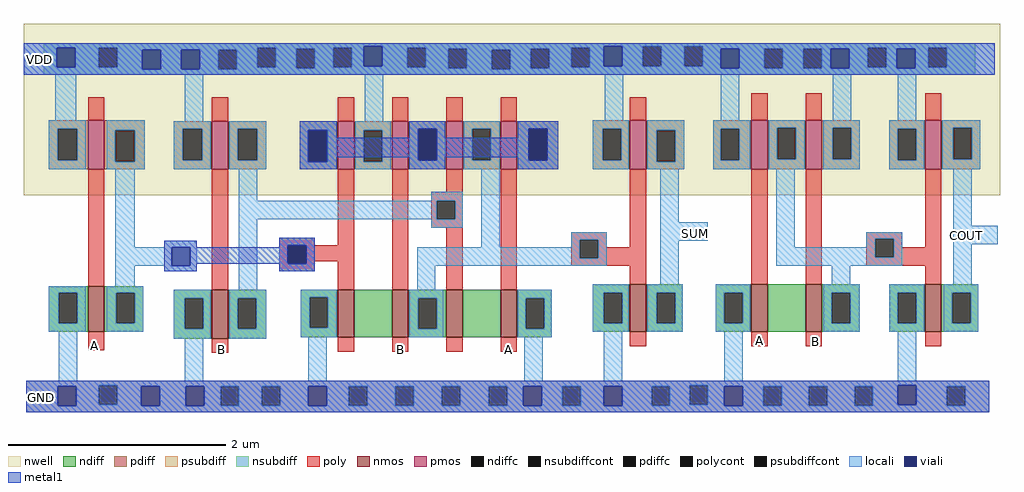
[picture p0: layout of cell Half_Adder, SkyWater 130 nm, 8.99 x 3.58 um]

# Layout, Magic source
magic

tech sky130A


<< nwell >>

rect -191 -15 708 143

<< nmos >>

rect -132 -141 -117 -99

rect -18 -147 -3 -102

rect 98 -146 113 -102

rect 148 -146 163 -102

rect 198 -146 213 -102

rect 248 -146 263 -102

rect 367 -141 382 -97

rect 479 -141 494 -97

rect 529 -141 544 -97

rect 639 -141 654 -97

<< pmos >>

rect -132 9 -117 54

rect -18 9 -3 53

rect 98 9 113 53

rect 148 9 163 53

rect 198 9 213 53

rect 248 9 263 53

rect 367 9 382 54

rect 479 9 494 54

rect 529 9 544 54

rect 639 9 654 54

<< ndiff >>

rect -168 -105 -132 -99

rect -168 -133 -159 -105

rect -142 -133 -132 -105

rect -168 -141 -132 -133

rect -117 -105 -81 -99

rect -117 -133 -106 -105

rect -89 -133 -81 -105

rect -117 -141 -81 -133

rect -53 -110 -18 -102

rect -53 -138 -43 -110

rect -26 -138 -18 -110

rect -53 -147 -18 -138

rect -3 -110 32 -102

rect -3 -138 6 -110

rect 23 -138 32 -110

rect -3 -147 32 -138

rect 64 -109 98 -102

rect 64 -137 72 -109

rect 89 -137 98 -109

rect 64 -146 98 -137

rect 113 -146 148 -102

rect 163 -110 198 -102

rect 163 -138 172 -110

rect 189 -138 198 -110

rect 163 -146 198 -138

rect 213 -146 248 -102

rect 263 -110 295 -102

rect 263 -138 271 -110

rect 288 -138 295 -110

rect 263 -146 295 -138

rect 333 -105 367 -97

rect 333 -133 343 -105

rect 360 -133 367 -105

rect 333 -141 367 -133

rect 382 -105 416 -97

rect 382 -133 392 -105

rect 409 -133 416 -105

rect 382 -141 416 -133

rect 446 -105 479 -97

rect 446 -133 454 -105

rect 471 -133 479 -105

rect 446 -141 479 -133

rect 494 -141 529 -97

rect 544 -105 579 -97

rect 544 -133 553 -105

rect 570 -133 579 -105

rect 544 -141 579 -133

rect 606 -105 639 -97

rect 606 -133 614 -105

rect 631 -133 639 -105

rect 606 -141 639 -133

rect 654 -105 688 -97

rect 654 -133 664 -105

rect 681 -133 688 -105

rect 654 -141 688 -133

<< pdiff >>

rect -168 46 -132 54

rect -168 17 -160 46

rect -142 17 -132 46

rect -168 9 -132 17

rect -117 45 -80 54

rect -117 16 -107 45

rect -89 16 -80 45

rect -117 9 -80 16

rect -53 46 -18 53

rect -53 17 -45 46

rect -27 17 -18 46

rect -53 9 -18 17

rect -3 46 32 53

rect -3 17 6 46

rect 24 17 32 46

rect -3 9 32 17

rect 63 45 98 53

rect 63 16 71 45

rect 89 16 98 45

rect 63 9 98 16

rect 113 45 148 53

rect 113 16 122 45

rect 139 16 148 45

rect 113 9 148 16

rect 163 46 198 53

rect 163 17 172 46

rect 189 17 198 46

rect 163 9 198 17

rect 213 46 248 53

rect 213 17 222 46

rect 239 17 248 46

rect 213 9 248 17

rect 263 46 301 53

rect 263 17 274 46

rect 291 17 301 46

rect 263 9 301 17

rect 333 46 367 54

rect 333 17 342 46

rect 359 17 367 46

rect 333 9 367 17

rect 382 45 417 54

rect 382 16 392 45

rect 409 16 417 45

rect 382 9 417 16

rect 444 46 479 54

rect 444 17 451 46

rect 468 17 479 46

rect 444 9 479 17

rect 494 47 529 54

rect 494 18 503 47

rect 520 18 529 47

rect 494 9 529 18

rect 544 47 579 54

rect 544 18 554 47

rect 571 18 579 47

rect 544 9 579 18

rect 606 46 639 54

rect 606 17 614 46

rect 631 17 639 46

rect 606 9 639 17

rect 654 47 690 54

rect 654 18 665 47

rect 682 18 690 47

rect 654 9 690 18

<< ndiffc >>

rect -159 -133 -142 -105

rect -106 -133 -89 -105

rect -43 -138 -26 -110

rect 6 -138 23 -110

rect 72 -137 89 -109

rect 172 -138 189 -110

rect 271 -138 288 -110

rect 343 -133 360 -105

rect 392 -133 409 -105

rect 454 -133 471 -105

rect 553 -133 570 -105

rect 614 -133 631 -105

rect 664 -133 681 -105

<< pdiffc >>

rect -160 17 -142 46

rect -107 16 -89 45

rect -45 17 -27 46

rect 6 17 24 46

rect 71 16 89 45

rect 122 16 139 45

rect 172 17 189 46

rect 222 17 239 46

rect 274 17 291 46

rect 342 17 359 46

rect 392 16 409 45

rect 451 17 468 46

rect 503 18 520 47

rect 554 18 571 47

rect 614 17 631 46

rect 665 18 682 47

<< psubdiff >>

rect -189 -190 698 -186

rect -189 -208 -122 -190

rect -105 -191 422 -190

rect -105 -208 -10 -191

rect -189 -209 -10 -208

rect 7 -209 28 -191

rect 45 -209 108 -191

rect 125 -209 151 -191

rect 168 -209 194 -191

rect 211 -209 237 -191

rect 254 -209 305 -191

rect 322 -209 387 -191

rect 404 -208 422 -191

rect 439 -191 698 -190

rect 439 -208 490 -191

rect 404 -209 490 -208

rect 507 -209 532 -191

rect 549 -209 574 -191

rect 591 -209 659 -191

rect 676 -209 698 -191

rect -189 -215 698 -209

<< nsubdiff >>

rect -173 122 685 125

rect -173 121 379 122

rect -173 103 -122 121

rect -105 119 24 121

rect -105 103 -12 119

rect -173 101 -12 103

rect 5 103 24 119

rect 41 120 94 121

rect 41 103 60 120

rect 5 102 60 103

rect 77 103 94 120

rect 111 103 162 121

rect 179 120 313 121

rect 179 103 200 120

rect 77 102 200 103

rect 217 119 276 120

rect 217 102 240 119

rect 5 101 240 102

rect 257 102 276 119

rect 293 103 313 120

rect 330 104 379 121

rect 396 104 417 122

rect 434 121 685 122

rect 434 120 586 121

rect 434 104 491 120

rect 330 103 491 104

rect 293 102 491 103

rect 508 102 527 120

rect 544 103 586 120

rect 603 103 642 121

rect 659 103 685 121

rect 544 102 685 103

rect 257 101 685 102

rect -173 96 685 101

<< psubdiffcont >>

rect -122 -208 -105 -190

rect -10 -209 7 -191

rect 28 -209 45 -191

rect 108 -209 125 -191

rect 151 -209 168 -191

rect 194 -209 211 -191

rect 237 -209 254 -191

rect 305 -209 322 -191

rect 387 -209 404 -191

rect 422 -208 439 -190

rect 490 -209 507 -191

rect 532 -209 549 -191

rect 574 -209 591 -191

rect 659 -209 676 -191

<< nsubdiffcont >>

rect -122 103 -105 121

rect -12 101 5 119

rect 24 103 41 121

rect 60 102 77 120

rect 94 103 111 121

rect 162 103 179 121

rect 200 102 217 120

rect 240 101 257 119

rect 276 102 293 120

rect 313 103 330 121

rect 379 104 396 122

rect 417 104 434 122

rect 491 102 508 120

rect 527 102 544 120

rect 586 103 603 121

rect 642 103 659 121

<< poly >>

rect -132 54 -117 75

rect -18 53 -3 75

rect 98 53 113 75

rect 148 53 163 75

rect 198 53 213 75

rect 248 53 263 75

rect 367 54 382 75

rect 479 54 494 79

rect 529 54 544 79

rect 639 54 654 79

rect -132 -99 -117 9

rect -18 -102 -3 9

rect 44 -61 77 -54

rect 98 -61 113 9

rect 44 -78 52 -61

rect 69 -76 113 -61

rect 69 -78 77 -76

rect 44 -85 77 -78

rect 98 -102 113 -76

rect 148 -102 163 9

rect 198 -12 213 9

rect 184 -20 213 -12

rect 184 -37 189 -20

rect 206 -37 213 -20

rect 184 -45 213 -37

rect 198 -102 213 -45

rect 248 -102 263 9

rect 313 -56 346 -49

rect 313 -73 321 -56

rect 338 -63 346 -56

rect 367 -63 382 9

rect 338 -73 382 -63

rect 313 -80 382 -73

rect 367 -97 382 -80

rect 479 -97 494 9

rect 529 -97 544 9

rect 585 -55 618 -49

rect 585 -72 593 -55

rect 610 -63 618 -55

rect 639 -63 654 9

rect 610 -72 654 -63

rect 585 -80 654 -72

rect 639 -97 654 -80

rect -132 -158 -117 -141

rect -18 -160 -3 -147

rect 98 -159 113 -146

rect 148 -159 163 -146

rect 198 -159 213 -146

rect 248 -159 263 -146

rect 367 -154 382 -141

rect 479 -154 494 -141

rect 529 -154 544 -141

rect 639 -154 654 -141

<< polycont >>

rect 52 -78 69 -61

rect 189 -37 206 -20

rect 321 -73 338 -56

rect 593 -72 610 -55

<< locali >>

rect -191 122 703 125

rect -191 121 122 122

rect -191 103 -161 121

rect -144 103 -122 121

rect -105 119 24 121

rect -105 103 -82 119

rect -191 101 -82 103

rect -65 101 -46 119

rect -29 101 -12 119

rect 5 103 24 119

rect 41 120 94 121

rect 41 103 60 120

rect 5 102 60 103

rect 77 103 94 120

rect 111 104 122 121

rect 139 121 343 122

rect 139 104 162 121

rect 111 103 162 104

rect 179 120 313 121

rect 179 103 200 120

rect 77 102 200 103

rect 217 119 276 120

rect 217 102 240 119

rect 5 101 240 102

rect 257 102 276 119

rect 293 103 313 120

rect 330 104 343 121

rect 360 104 379 122

rect 396 104 417 122

rect 434 121 703 122

rect 434 120 586 121

rect 434 104 451 120

rect 330 103 451 104

rect 293 102 451 103

rect 468 102 491 120

rect 508 102 527 120

rect 544 102 552 120

rect 569 103 586 120

rect 603 120 642 121

rect 603 103 613 120

rect 569 102 613 103

rect 630 103 642 120

rect 659 103 703 121

rect 630 102 703 103

rect 257 101 703 102

rect -191 96 703 101

rect -162 54 -143 96

rect -168 46 -134 54

rect -168 17 -160 46

rect -142 17 -134 46

rect -168 9 -134 17

rect -115 45 -80 54

rect -43 53 -26 96

rect 123 53 140 96

rect 344 54 361 96

rect 451 54 468 96

rect 554 54 571 96

rect 614 54 631 96

rect -115 16 -107 45

rect -89 16 -80 45

rect -115 9 -80 16

rect -53 46 -19 53

rect -53 17 -45 46

rect -27 17 -19 46

rect -53 9 -19 17

rect -2 46 32 53

rect -2 17 6 46

rect 24 17 32 46

rect -2 9 32 17

rect 63 45 97 53

rect 63 16 71 45

rect 89 16 97 45

rect 63 9 97 16

rect 114 45 147 53

rect 114 16 122 45

rect 139 16 147 45

rect 114 9 147 16

rect 164 46 197 53

rect 164 17 172 46

rect 189 17 197 46

rect 164 9 197 17

rect 214 46 247 53

rect 214 17 222 46

rect 239 17 247 46

rect 214 9 247 17

rect 264 46 301 53

rect 264 17 274 46

rect 291 17 301 46

rect 264 9 301 17

rect 333 46 366 54

rect 333 17 342 46

rect 359 17 366 46

rect 333 9 366 17

rect 383 45 417 54

rect 383 16 392 45

rect 409 16 417 45

rect 383 9 417 16

rect 444 46 478 54

rect 444 17 451 46

rect 468 17 478 46

rect 444 9 478 17

rect 495 47 528 54

rect 495 18 503 47

rect 520 18 528 47

rect 495 9 528 18

rect 545 47 579 54

rect 545 18 554 47

rect 571 18 579 47

rect 545 9 579 18

rect 606 46 638 54

rect 606 17 614 46

rect 631 17 638 46

rect 606 9 638 17

rect 655 47 690 54

rect 655 18 665 47

rect 682 18 690 47

rect 655 9 690 18

rect -107 -63 -89 9

rect 7 -20 24 9

rect 184 -20 213 -12

rect 7 -37 189 -20

rect 206 -37 213 -20

rect -62 -63 -32 -57

rect -107 -80 -55 -63

rect -38 -80 -32 -63

rect -107 -99 -89 -80

rect -62 -85 -32 -80

rect -168 -105 -134 -99

rect -168 -133 -159 -105

rect -142 -133 -134 -105

rect -168 -141 -134 -133

rect -115 -105 -81 -99

rect 7 -102 24 -37

rect 184 -45 213 -37

rect 44 -61 77 -54

rect 44 -78 52 -61

rect 69 -78 77 -61

rect 230 -63 247 9

rect 395 -40 412 9

rect 313 -56 346 -49

rect 313 -63 321 -56

rect 44 -85 77 -78

rect 171 -73 321 -63

rect 338 -73 346 -56

rect 171 -80 346 -73

rect 395 -57 439 -40

rect 171 -102 188 -80

rect 395 -97 412 -57

rect 502 -63 519 9

rect 665 -43 682 9

rect 585 -55 618 -49

rect 585 -63 593 -55

rect 502 -72 593 -63

rect 610 -72 618 -55

rect 502 -80 618 -72

rect 665 -60 706 -43

rect 553 -97 570 -80

rect 665 -97 682 -60

rect -115 -133 -106 -105

rect -89 -133 -81 -105

rect -115 -141 -81 -133

rect -53 -110 -19 -102

rect -53 -138 -43 -110

rect -26 -138 -19 -110

rect -159 -186 -142 -141

rect -53 -147 -19 -138

rect -2 -110 32 -102

rect -2 -138 6 -110

rect 23 -138 32 -110

rect -2 -147 32 -138

rect 64 -109 97 -102

rect 64 -137 72 -109

rect 89 -137 97 -109

rect 64 -146 97 -137

rect 164 -110 195 -102

rect 164 -138 172 -110

rect 189 -138 195 -110

rect 164 -146 195 -138

rect 264 -110 295 -102

rect 264 -138 271 -110

rect 288 -138 295 -110

rect 264 -146 295 -138

rect 333 -105 366 -97

rect 333 -133 343 -105

rect 360 -133 366 -105

rect 333 -141 366 -133

rect 383 -105 416 -97

rect 383 -133 392 -105

rect 409 -133 416 -105

rect 383 -141 416 -133

rect 446 -105 478 -97

rect 446 -133 454 -105

rect 471 -133 478 -105

rect 446 -141 478 -133

rect 545 -105 579 -97

rect 545 -133 553 -105

rect 570 -133 579 -105

rect 545 -141 579 -133

rect 606 -105 638 -97

rect 606 -133 614 -105

rect 631 -133 638 -105

rect 606 -141 638 -133

rect 656 -105 688 -97

rect 656 -133 664 -105

rect 681 -133 688 -105

rect 656 -141 688 -133

rect -43 -186 -26 -147

rect 71 -186 88 -146

rect 270 -186 287 -146

rect 343 -186 360 -141

rect 454 -186 471 -141

rect 614 -186 631 -141

rect -189 -190 698 -186

rect -189 -191 -122 -190

rect -189 -209 -160 -191

rect -143 -208 -122 -191

rect -105 -191 422 -190

rect -105 -208 -83 -191

rect -143 -209 -83 -208

rect -66 -209 -42 -191

rect -25 -209 -10 -191

rect 7 -209 28 -191

rect 45 -209 71 -191

rect 88 -209 108 -191

rect 125 -209 151 -191

rect 168 -209 194 -191

rect 211 -209 237 -191

rect 254 -209 269 -191

rect 286 -209 305 -191

rect 322 -209 343 -191

rect 360 -209 387 -191

rect 404 -208 422 -191

rect 439 -191 614 -190

rect 439 -208 454 -191

rect 404 -209 454 -208

rect 471 -209 490 -191

rect 507 -209 532 -191

rect 549 -209 574 -191

rect 591 -208 614 -191

rect 631 -191 698 -190

rect 631 -208 659 -191

rect 591 -209 659 -208

rect 676 -209 698 -191

rect -189 -215 698 -209

<< viali >>

rect -161 103 -144 121

rect -82 101 -65 119

rect -46 101 -29 119

rect 122 104 139 122

rect 343 104 360 122

rect 451 102 468 120

rect 552 102 569 120

rect 613 102 630 120

rect 71 16 88 45

rect 172 17 189 46

rect 274 17 291 46

rect -55 -80 -38 -63

rect 52 -78 69 -61

rect -160 -209 -143 -191

rect -83 -209 -66 -191

rect -42 -209 -25 -191

rect 71 -209 88 -191

rect 269 -209 286 -191

rect 343 -209 360 -191

rect 454 -209 471 -191

rect 614 -208 631 -190

<< metal1 >>

rect -191 122 703 125

rect -191 121 122 122

rect -191 103 -161 121

rect -144 119 122 121

rect -144 103 -82 119

rect -191 101 -82 103

rect -65 101 -46 119

rect -29 104 122 119

rect 139 104 343 122

rect 360 120 703 122

rect 360 104 451 120

rect -29 102 451 104

rect 468 102 552 120

rect 569 102 613 120

rect 630 102 703 120

rect -29 101 703 102

rect -191 96 703 101

rect 63 45 97 53

rect 63 16 71 45

rect 88 38 97 45

rect 164 46 197 53

rect 164 38 172 46

rect 88 20 172 38

rect 88 16 97 20

rect 63 9 97 16

rect 164 17 172 20

rect 189 38 197 46

rect 264 46 301 53

rect 264 38 274 46

rect 189 20 274 38

rect 189 17 197 20

rect 164 9 197 17

rect 264 17 274 20

rect 291 17 301 46

rect 264 9 301 17

rect -62 -63 -32 -57

rect 44 -61 77 -54

rect 44 -63 52 -61

rect -62 -80 -55 -63

rect -38 -78 52 -63

rect 69 -78 77 -61

rect -38 -80 -32 -78

rect -62 -85 -32 -80

rect 44 -85 77 -78

rect -189 -190 698 -186

rect -189 -191 614 -190

rect -189 -209 -160 -191

rect -143 -209 -83 -191

rect -66 -209 -42 -191

rect -25 -209 71 -191

rect 88 -209 269 -191

rect 286 -209 343 -191

rect 360 -209 454 -191

rect 471 -208 614 -191

rect 631 -208 698 -190

rect 471 -209 698 -208

rect -189 -215 698 -209

<< labels >>

flabel metal1 s -189 100 -165 120 0 FreeSans 80 0 0 0 VDD

port 0 nsew

flabel metal1 s -187 -211 -163 -191 0 FreeSans 80 0 0 0 GND

port 1 nsew

flabel poly s -138 -163 -114 -143 0 FreeSans 80 0 0 0 A

port 2 nsew

flabel poly s 243 -167 267 -147 0 FreeSans 80 0 0 0 A

flabel poly s -21 -167 3 -147 0 FreeSans 80 0 0 0 B

port 3 nsew

flabel poly s 144 -167 168 -147 0 FreeSans 80 0 0 0 B

flabel poly s 475 -155 498 -142 0 FreeSans 80 0 0 0 A

flabel poly s 527 -156 550 -143 0 FreeSans 80 0 0 0 B

flabel locali s 416 -57 439 -44 0 FreeSans 80 0 0 0 SUM

port 4 nsew

flabel locali s 666 -59 689 -46 0 FreeSans 80 0 0 0 COUT

port 5 nsew

<< end >>
